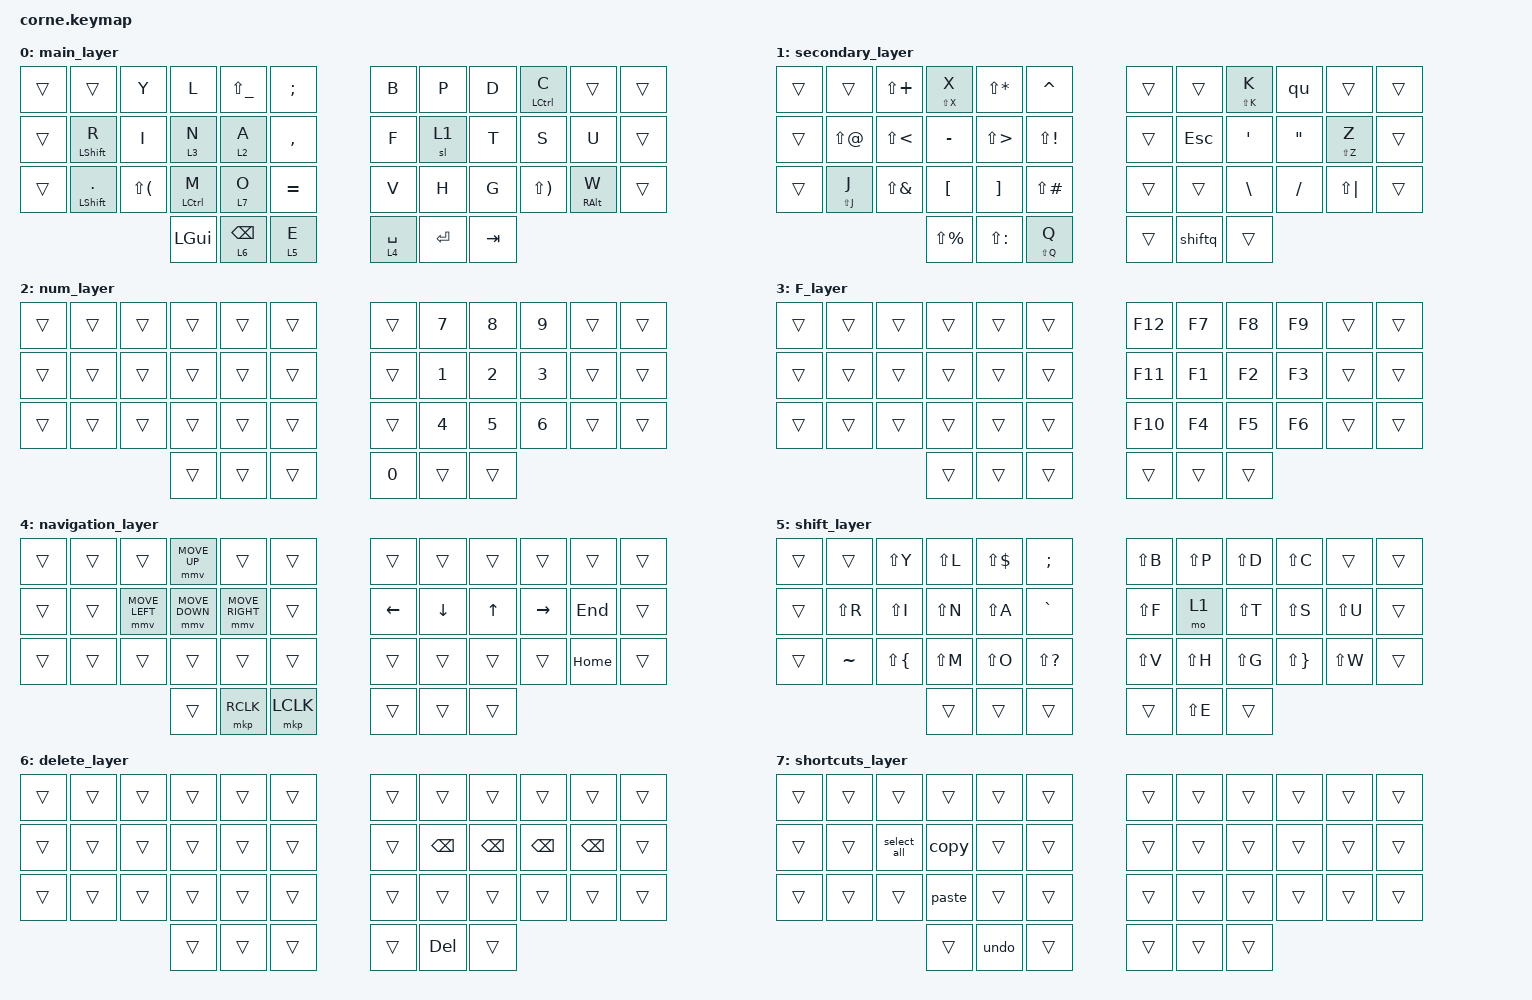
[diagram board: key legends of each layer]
/*
 * Copyright (c) 2020 The ZMK Contributors
 *
 * SPDX-License-Identifier: MIT
 */

#include <dt-bindings/zmk/behaviors.h>
#include <behaviors.dtsi>
#include <dt-bindings/zmk/keys.h>
#include <dt-bindings/zmk/pointing.h>

/ {
    behaviors {
        rpi: require_prior_idle {
            compatible = "zmk,behavior-hold-tap";
            #binding-cells = <2>;
            flavor = "tap-preferred";
            tapping-term-ms = <200>;
            quick-tap-ms = <200>;
            require-prior-idle-ms = <125>;
            bindings = <&kp>, <&kp>;
        };
    };

    combos {
        compatible = "zmk,combos";

        j {
            bindings = <&kp J>;
            key-positions = <14 15>;
            layers = <0>;
        };

        b {
            bindings = <&kp B>;
            key-positions = <15 16>;
            layers = <0>;
        };

        p {
            bindings = <&kp P>;
            key-positions = <19 20>;
            layers = <0>;
        };

        v {
            bindings = <&kp V>;
            key-positions = <20 21>;
            layers = <0>;
        };

        shift_j {
            bindings = <&kp LS(J)>;
            key-positions = <14 15>;
            require-prior-idle-ms = <0>;
            layers = <5>;
        };

        shift_b {
            bindings = <&kp LS(B)>;
            key-positions = <15 16>;
            layers = <5>;
        };

        shift_p {
            bindings = <&kp LS(P)>;
            key-positions = <19 20>;
            require-prior-idle-ms = <0>;
            layers = <5>;
        };

        shift_v {
            bindings = <&kp LS(V)>;
            key-positions = <20 21>;
            require-prior-idle-ms = <0>;
            layers = <5>;
        };
    };

    macros {
        qu: qu {
            compatible = "zmk,behavior-macro";
            #binding-cells = <0>;
            bindings = <&kp Q &kp U>;
            label = "QU";
        };

        copy: copy {
            compatible = "zmk,behavior-macro";
            #binding-cells = <0>;
            bindings = <&kp LC(C)>;
            label = "COPY";
        };

        paste: cut {
            compatible = "zmk,behavior-macro";
            #binding-cells = <0>;
            bindings = <&kp LC(V)>;
            label = "CUT";
        };

        select_all: select_all {
            compatible = "zmk,behavior-macro";
            #binding-cells = <0>;
            bindings = <&kp LC(A)>;
            label = "SELECT_ALL";
        };

        undo: undo {
            compatible = "zmk,behavior-macro";
            #binding-cells = <0>;
            bindings = <&kp LC(Z)>;
            label = "UNDO";
        };

        shiftq: shiftq {
            compatible = "zmk,behavior-macro";
            #binding-cells = <0>;
            bindings = <&kp LS(Q) &kp U>;
            label = "SHIFTQ";
        };
    };

    keymap {
        compatible = "zmk,keymap";

        main_layer {
            bindings = <
&trans  &trans                 &kp Y         &kp L               &kp LS(UNDER)    &kp SEMI     &kp B        &kp P    &kp D    &mt LEFT_CONTROL C  &trans           &trans
&trans  &mt LEFT_SHIFT R       &kp I         &lt 3 N             &lt 2 A          &kp COMMA    &kp F        &sl 1    &kp T    &kp S               &kp U            &trans
&trans  &mt LEFT_SHIFT PERIOD  &kp LS(LPAR)  &mt LEFT_CONTROL M  &lt 7 O          &kp EQUAL    &kp V        &kp H    &kp G    &kp LS(RPAR)        &mt RIGHT_ALT W  &trans
                                             &kp LGUI            &lt 6 BACKSPACE  &lt 5 E      &lt 4 SPACE  &kp RET  &kp TAB
            >;
        };

        secondary_layer {
            bindings = <
&trans  &trans       &kp LS(PLUS)  &mt LS(X) X    &kp LS(STAR)   &kp CARET        &trans  &trans   &mt LS(K) K  &qu                &trans        &trans
&trans  &kp LS(AT)   &kp LS(LT)    &kp MINUS      &kp LS(GT)     &kp LS(EXCL)     &trans  &kp ESC  &kp SQT      &kp DOUBLE_QUOTES  &mt LS(Z) Z   &trans
&trans  &mt LS(J) J  &kp LS(AMPS)  &kp LBKT       &kp RBKT       &kp LS(POUND)    &trans  &trans   &kp BSLH     &kp FSLH           &kp LS(PIPE)  &trans
                                   &kp LS(PRCNT)  &kp LS(COLON)  &mt LS(Q) Q      &trans  &shiftq  &trans
            >;
        };

        num_layer {
            bindings = <
&trans  &trans  &trans  &trans  &trans  &trans    &trans  &kp N7  &kp N8  &kp N9  &trans  &trans
&trans  &trans  &trans  &trans  &trans  &trans    &trans  &kp N1  &kp N2  &kp N3  &trans  &trans
&trans  &trans  &trans  &trans  &trans  &trans    &trans  &kp N4  &kp N5  &kp N6  &trans  &trans
                        &trans  &trans  &trans    &kp N0  &trans  &trans
            >;
        };

        F_layer {
            bindings = <
&trans  &trans  &trans  &trans  &trans  &trans    &kp F12  &kp F7  &kp F8  &kp F9  &trans  &trans
&trans  &trans  &trans  &trans  &trans  &trans    &kp F11  &kp F1  &kp F2  &kp F3  &trans  &trans
&trans  &trans  &trans  &trans  &trans  &trans    &kp F10  &kp F4  &kp F5  &kp F6  &trans  &trans
                        &trans  &trans  &trans    &trans   &trans  &trans
            >;
        };

        navigation_layer {
            bindings = <
&trans  &trans  &trans          &mmv MOVE_UP    &trans           &trans       &trans    &trans    &trans  &trans     &trans    &trans
&trans  &trans  &mmv MOVE_LEFT  &mmv MOVE_DOWN  &mmv MOVE_RIGHT  &trans       &kp LEFT  &kp DOWN  &kp UP  &kp RIGHT  &kp END   &trans
&trans  &trans  &trans          &trans          &trans           &trans       &trans    &trans    &trans  &trans     &kp HOME  &trans
                                &trans          &mkp RCLK        &mkp LCLK    &trans    &trans    &trans
            >;
        };

        shift_layer {
            bindings = <
&trans  &trans     &kp LS(Y)     &kp LS(L)  &kp LS(DLLR)  &kp SEMI         &kp LS(B)  &kp LS(P)  &kp LS(D)  &kp LS(C)     &trans     &trans
&trans  &kp LS(R)  &kp LS(I)     &kp LS(N)  &kp LS(A)     &kp GRAVE        &kp LS(F)  &mo 1      &kp LS(T)  &kp LS(S)     &kp LS(U)  &trans
&trans  &kp TILDE  &kp LS(LBRC)  &kp LS(M)  &kp LS(O)     &kp LS(QMARK)    &kp LS(V)  &kp LS(H)  &kp LS(G)  &kp LS(RBRC)  &kp LS(W)  &trans
                                 &trans     &trans        &trans           &trans     &kp LS(E)  &trans
            >;
        };

        delete_layer {
            bindings = <
&trans  &trans  &trans  &trans  &trans  &trans    &trans  &trans    &trans    &trans    &trans    &trans
&trans  &trans  &trans  &trans  &trans  &trans    &trans  &kp BSPC  &kp BSPC  &kp BSPC  &kp BSPC  &trans
&trans  &trans  &trans  &trans  &trans  &trans    &trans  &trans    &trans    &trans    &trans    &trans
                        &trans  &trans  &trans    &trans  &kp DEL   &trans
            >;
        };

        shortcuts_layer {
            bindings = <
&trans  &trans  &trans       &trans  &trans  &trans    &trans  &trans  &trans  &trans  &trans  &trans
&trans  &trans  &select_all  &copy   &trans  &trans    &trans  &trans  &trans  &trans  &trans  &trans
&trans  &trans  &trans       &paste  &trans  &trans    &trans  &trans  &trans  &trans  &trans  &trans
                             &trans  &undo   &trans    &trans  &trans  &trans
            >;
        };
    };
};
